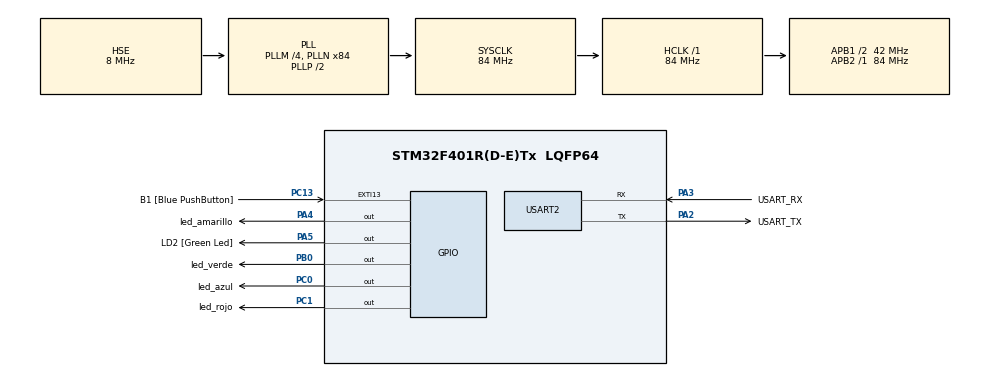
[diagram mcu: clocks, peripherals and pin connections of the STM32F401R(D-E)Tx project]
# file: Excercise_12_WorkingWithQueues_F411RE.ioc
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FREERTOS.Tasks01=defaultTask,24,128,StartDefaultTask,Default,NULL,Dynamic,NULL,NULL
Mcu.Family=STM32F4
Mcu.Name=STM32F401R(D-E)Tx
Mcu.Package=LQFP64
NVIC.PriorityGroup=NVIC_PRIORITYGROUP_4
NVIC.TIM1_UP_TIM10_IRQn=true\:15\:0\:false\:false\:true\:false\:false\:true\:true
NVIC.TimeBase=TIM1_UP_TIM10_IRQn
NVIC.TimeBaseIP=TIM1
PA13.GPIO_Label=TMS
PA13.Mode=Serial_Wire
PA13.Signal=SYS_JTMS-SWDIO
PA14.GPIO_Label=TCK
PA14.Mode=Serial_Wire
PA14.Signal=SYS_JTCK-SWCLK
PA2.GPIO_Label=USART_TX
PA2.GPIO_Mode=GPIO_MODE_AF_PP
PA2.GPIO_PuPd=GPIO_NOPULL
PA2.GPIO_Speed=GPIO_SPEED_FREQ_LOW
PA2.Mode=Asynchronous
PA2.Signal=USART2_TX
PA3.GPIO_Label=USART_RX
PA3.GPIO_Mode=GPIO_MODE_AF_PP
PA3.GPIO_PuPd=GPIO_NOPULL
PA3.GPIO_Speed=GPIO_SPEED_FREQ_LOW
PA3.Mode=Asynchronous
PA3.Signal=USART2_RX
PA4.GPIO_Label=led_amarillo
PA4.Signal=GPIO_Output
PA5.GPIO_Label=LD2 [Green Led]
PA5.GPIO_Mode=GPIO_MODE_OUTPUT_PP
PA5.GPIO_PuPd=GPIO_NOPULL
PA5.GPIO_Speed=GPIO_SPEED_FREQ_LOW
PA5.Signal=GPIO_Output
PB0.GPIO_Label=led_verde
PB0.Signal=GPIO_Output
PB3.GPIO_Label=SWO
PB3.Signal=SYS_JTDO-SWO
PC0.GPIO_Label=led_azul
PC0.Signal=GPIO_Output
PC1.GPIO_Label=led_rojo
PC1.Signal=GPIO_Output
PC13-ANTI_TAMP.GPIO_Label=B1 [Blue PushButton]
PC13-ANTI_TAMP.GPIO_ModeDefaultEXTI=GPIO_MODE_IT_FALLING
PC13-ANTI_TAMP.GPIO_PuPd=GPIO_NOPULL
PC13-ANTI_TAMP.Signal=GPXTI13
PC14-OSC32_IN.Mode=LSE-External-Oscillator
PC14-OSC32_IN.Signal=RCC_OSC32_IN
PC15-OSC32_OUT.Mode=LSE-External-Oscillator
PC15-OSC32_OUT.Signal=RCC_OSC32_OUT
PH0\ -\ OSC_IN.Mode=HSE-External-Clock-Source
PH0\ -\ OSC_IN.Signal=RCC_OSC_IN
PH1\ -\ OSC_OUT.Mode=HSE-External-Clock-Source
PH1\ -\ OSC_OUT.Signal=RCC_OSC_OUT
ProjectManager.HeapSize=0x200
ProjectManager.StackSize=0x400
ProjectManager.TargetToolchain=STM32CubeIDE
RCC.48MHZClocksFreq_Value=24000000
RCC.AHBFreq_Value=84000000
RCC.APB1CLKDivider=RCC_HCLK_DIV2
RCC.APB1Freq_Value=42000000
RCC.APB1TimFreq_Value=84000000
RCC.APB2Freq_Value=84000000
RCC.APB2TimFreq_Value=84000000
RCC.CortexFreq_Value=84000000
RCC.HCLKFreq_Value=84000000
RCC.HSE_VALUE=8000000
RCC.HSI_VALUE=16000000
RCC.PLLM=4
RCC.PLLN=84
RCC.PLLQ=7
RCC.PLLSourceVirtual=RCC_PLLSOURCE_HSE
RCC.SYSCLKFreq_VALUE=84000000
RCC.SYSCLKSource=RCC_SYSCLKSOURCE_PLLCLK
RCC.VCOOutputFreq_Value=168000000
USART2.VirtualMode=VM_ASYNC
VP_FREERTOS_VS_CMSIS_V2.Mode=CMSIS_V2
VP_SYS_VS_tim1.Mode=TIM1
board=NUCLEO-F401RE

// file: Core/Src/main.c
/* USER CODE BEGIN Header */
/**
  ******************************************************************************
  * @file           : main.c
  * @brief          : Main program body
  ******************************************************************************
  * @attention
  *
  * Copyright (c) 2024 STMicroelectronics.
  * All rights reserved.
  *
  * This software is licensed under terms that can be found in the LICENSE file
  * in the root directory of this software component.
  * If no LICENSE file comes with this software, it is provided AS-IS.
  *
  ******************************************************************************
  */
/* USER CODE END Header */
#include "main.h"
#include "cmsis_os.h"

UART_HandleTypeDef huart2;

/* Definitions for defaultTask */
osThreadId_t defaultTaskHandle;
const osThreadAttr_t defaultTask_attributes = {
  .name = "defaultTask",
  .stack_size = 128 * 4,
  .priority = (osPriority_t) osPriorityNormal,
};
/* USER CODE BEGIN PV */
typedef uint32_t TaskProfiler_t ;

TaskProfiler_t 	a=0;
TaskProfiler_t	b=0;
TaskProfiler_t	c=0;
TaskProfiler_t	idleTaskProfiler=0;

//pointers of the led
//const uint16_t * Blue_led = (uint16_t *)led_1_Pin;
//const uint16_t * Red_led = (uint16_t *)led_2_Pin;
//const uint16_t * Green_led = (uint16_t *)led_3_Pin;
//const uint16_t * Orange_led =(uint16_t *) led_4_Pin;

const TickType_t _250ms = pdMS_TO_TICKS(250);
const TickType_t _100ms = pdMS_TO_TICKS(100);
const TickType_t _1000ms = pdMS_TO_TICKS(1000);
const TickType_t _50ms = pdMS_TO_TICKS(50);

typedef enum
{
	humidity_sensor,
	pressure_sensor
}DataSource_t;

typedef struct
{
	uint8_t ucValue;
	DataSource_t sDataSource;//source of the data
}Data_t;

static const Data_t xStrcutrToSend [2]=
{
		{77,humidity_sensor},//used by humidity sensor
		{63,pressure_sensor} // used by pressure sensor
};

QueueHandle_t sensorQueue;

/* USER CODE END PV */

void SystemClock_Config(void);
static void MX_GPIO_Init(void);
static void MX_USART2_UART_Init(void);
void StartDefaultTask(void *argument);

/* USER CODE BEGIN PFP */
void SerialUartSendString(char *ptr);
void HumidityTask(void *pvParameters);
void PressureTask(void *pvParameters);
void ReceiverTask(void *pvParameters);
void LedsController1(void *pvParameters);
void LedsController2(void *pvParameters);
void LedsController3(void *pvParameters);
void LedsController4(void *pvParameters);

void SerialUartSendString(char *ptr);
TaskHandle_t hum_task_handle,press_task_handle,receiver_handle,ledsHandler;

/* USER CODE END PFP */

int main(void)
{

  /* MCU Configuration--------------------------------------------------------*/

  /* Reset of all peripherals, Initializes the Flash interface and the Systick. */
  HAL_Init();

  /* Configure the system clock */
  SystemClock_Config();

  /* Initialize all configured peripherals */
  MX_GPIO_Init();
  MX_USART2_UART_Init();

  /* Init scheduler */
  //osKernelInitialize();

  /* USER CODE BEGIN RTOS_QUEUES */
  /* add queues, ... */
  sensorQueue =xQueueCreate(3,sizeof(Data_t));
  /* USER CODE END RTOS_QUEUES */

  /* Create the thread(s) */
  /* creation of defaultTask */
  //defaultTaskHandle = osThreadNew(StartDefaultTask, NULL, &defaultTask_attributes);

  /* USER CODE BEGIN RTOS_THREADS */
  /* add threads, ... */
  xTaskCreate(ReceiverTask, "Receive task", 800, NULL, 2, NULL);
  xTaskCreate(HumidityTask, "Humidity Task", 800, (void *)&(xStrcutrToSend[0]), 2, NULL);
  xTaskCreate(PressureTask, "Pressure task", 800, (void *)&(xStrcutrToSend[1]), 2, NULL);
  xTaskCreate(LedsController1, "LedsController1", 200, NULL, 2, NULL);
  xTaskCreate(LedsController2, "LedsController2", 200, NULL, 2, NULL);
  xTaskCreate(LedsController3, "LedsController3", 200, NULL, 2, NULL);
  xTaskCreate(LedsController4, "LedsController4", 200, NULL, 2, NULL);
  /* USER CODE END RTOS_THREADS */

  /* Start scheduler */
  //osKernelStart();

  /* We should never get here as control is now taken by the scheduler */
  /* Infinite loop */
  /* USER CODE BEGIN WHILE */
  vTaskStartScheduler();//star the scheduler

  while (1)
  {
    /* USER CODE END WHILE */

  }
}

void SystemClock_Config(void)
{
  RCC_OscInitTypeDef RCC_OscInitStruct = {0};
  RCC_ClkInitTypeDef RCC_ClkInitStruct = {0};

  /** Configure the main internal regulator output voltage
  */
  __HAL_RCC_PWR_CLK_ENABLE();
  __HAL_PWR_VOLTAGESCALING_CONFIG(PWR_REGULATOR_VOLTAGE_SCALE2);

  /** Initializes the RCC Oscillators according to the specified parameters
  * in the RCC_OscInitTypeDef structure.
  */
  RCC_OscInitStruct.OscillatorType = RCC_OSCILLATORTYPE_HSE;
  RCC_OscInitStruct.HSEState = RCC_HSE_BYPASS;
  RCC_OscInitStruct.PLL.PLLState = RCC_PLL_ON;
  RCC_OscInitStruct.PLL.PLLSource = RCC_PLLSOURCE_HSE;
  RCC_OscInitStruct.PLL.PLLM = 4;
  RCC_OscInitStruct.PLL.PLLN = 84;
  RCC_OscInitStruct.PLL.PLLP = RCC_PLLP_DIV2;
  RCC_OscInitStruct.PLL.PLLQ = 7;
  if (HAL_RCC_OscConfig(&RCC_OscInitStruct) != HAL_OK)
  {
    Error_Handler();
  }

  /** Initializes the CPU, AHB and APB buses clocks
  */
  RCC_ClkInitStruct.ClockType = RCC_CLOCKTYPE_HCLK|RCC_CLOCKTYPE_SYSCLK
                              |RCC_CLOCKTYPE_PCLK1|RCC_CLOCKTYPE_PCLK2;
  RCC_ClkInitStruct.SYSCLKSource = RCC_SYSCLKSOURCE_PLLCLK;
  RCC_ClkInitStruct.AHBCLKDivider = RCC_SYSCLK_DIV1;
  RCC_ClkInitStruct.APB1CLKDivider = RCC_HCLK_DIV2;
  RCC_ClkInitStruct.APB2CLKDivider = RCC_HCLK_DIV1;

  if (HAL_RCC_ClockConfig(&RCC_ClkInitStruct, FLASH_LATENCY_2) != HAL_OK)
  {
    Error_Handler();
  }
}

static void MX_USART2_UART_Init(void)
{

  huart2.Instance = USART2;
  huart2.Init.BaudRate = 115200;
  huart2.Init.WordLength = UART_WORDLENGTH_8B;
  huart2.Init.StopBits = UART_STOPBITS_1;
  huart2.Init.Parity = UART_PARITY_NONE;
  huart2.Init.Mode = UART_MODE_TX_RX;
  huart2.Init.HwFlowCtl = UART_HWCONTROL_NONE;
  huart2.Init.OverSampling = UART_OVERSAMPLING_16;
  if (HAL_UART_Init(&huart2) != HAL_OK)
  {
    Error_Handler();
  }

}

static void MX_GPIO_Init(void)
{
  GPIO_InitTypeDef GPIO_InitStruct = {0};

  /* GPIO Ports Clock Enable */
  __HAL_RCC_GPIOC_CLK_ENABLE();
  __HAL_RCC_GPIOH_CLK_ENABLE();
  __HAL_RCC_GPIOA_CLK_ENABLE();
  __HAL_RCC_GPIOB_CLK_ENABLE();

  /*Configure GPIO pin Output Level */
  HAL_GPIO_WritePin(GPIOC, led_azul_Pin|led_rojo_Pin, GPIO_PIN_RESET);

  /*Configure GPIO pin Output Level */
  HAL_GPIO_WritePin(GPIOA, led_amarillo_Pin|LD2_Pin, GPIO_PIN_RESET);

  /*Configure GPIO pin Output Level */
  HAL_GPIO_WritePin(led_verde_GPIO_Port, led_verde_Pin, GPIO_PIN_RESET);

  /*Configure GPIO pin : B1_Pin */
  GPIO_InitStruct.Pin = B1_Pin;
  GPIO_InitStruct.Mode = GPIO_MODE_IT_FALLING;
  GPIO_InitStruct.Pull = GPIO_NOPULL;
  HAL_GPIO_Init(B1_GPIO_Port, &GPIO_InitStruct);

  /*Configure GPIO pins : led_azul_Pin led_rojo_Pin */
  GPIO_InitStruct.Pin = led_azul_Pin|led_rojo_Pin;
  GPIO_InitStruct.Mode = GPIO_MODE_OUTPUT_PP;
  GPIO_InitStruct.Pull = GPIO_NOPULL;
  GPIO_InitStruct.Speed = GPIO_SPEED_FREQ_LOW;
  HAL_GPIO_Init(GPIOC, &GPIO_InitStruct);

  /*Configure GPIO pins : led_amarillo_Pin LD2_Pin */
  GPIO_InitStruct.Pin = led_amarillo_Pin|LD2_Pin;
  GPIO_InitStruct.Mode = GPIO_MODE_OUTPUT_PP;
  GPIO_InitStruct.Pull = GPIO_NOPULL;
  GPIO_InitStruct.Speed = GPIO_SPEED_FREQ_LOW;
  HAL_GPIO_Init(GPIOA, &GPIO_InitStruct);

  /*Configure GPIO pin : led_verde_Pin */
  GPIO_InitStruct.Pin = led_verde_Pin;
  GPIO_InitStruct.Mode = GPIO_MODE_OUTPUT_PP;
  GPIO_InitStruct.Pull = GPIO_NOPULL;
  GPIO_InitStruct.Speed = GPIO_SPEED_FREQ_LOW;
  HAL_GPIO_Init(led_verde_GPIO_Port, &GPIO_InitStruct);

}

/* USER CODE BEGIN 4 */

void HumidityTask(void *pvParameters)
{
	BaseType_t qstatus;

	while(1)
	{
		qstatus=xQueueSend(sensorQueue,pvParameters,_250ms);

		if(qstatus !=pdPASS)
		{
			//do something
		}

		vTaskDelay(_100ms);
	}
}
void PressureTask(void *pvParameters)
{
	BaseType_t qstatus;

	while(1)
	{
		qstatus=xQueueSend(sensorQueue,pvParameters,_250ms);

		if(qstatus !=pdPASS)
		{
			//do something
		}

		vTaskDelay(_50ms);
	}

}
void ReceiverTask(void *pvParameters) {

	BaseType_t qStatus;
	Data_t xReceiveDataBuffer;
	char buffer[100];
	while (1) {
		qStatus = xQueueReceive(sensorQueue, &xReceiveDataBuffer, _50ms);

		if (qStatus == pdPASS) {

			if(xReceiveDataBuffer.sDataSource==humidity_sensor)
			{
				SerialUartSendString("************************************\n");
				SerialUartSendString("Humidity Sensor:\n");
				SerialUartSendString("Queue received:\n");
							SerialUartSendString("uValue:");
							sprintf(buffer, "%i", xReceiveDataBuffer.ucValue);
							SerialUartSendString(buffer);
							SerialUartSendString("\n");
							SerialUartSendString("Source of Data:");
							sprintf(buffer, "%i", xReceiveDataBuffer.sDataSource);
							SerialUartSendString(buffer);
							SerialUartSendString("\r\n");
							SerialUartSendString("************************************\n");

			}

			if(xReceiveDataBuffer.sDataSource==pressure_sensor)
			{
				SerialUartSendString("************************************\n");
				SerialUartSendString("Pressure sensor:\n");
								SerialUartSendString("Queue received:\n");
											SerialUartSendString("uValue:");
											sprintf(buffer, "%i", xReceiveDataBuffer.ucValue);
											SerialUartSendString(buffer);
											SerialUartSendString("\n");
											SerialUartSendString("Source of Data:");
											sprintf(buffer, "%i", xReceiveDataBuffer.sDataSource);
											SerialUartSendString(buffer);
											SerialUartSendString("\r\n");
											SerialUartSendString("************************************\n");

			}

		}

		else {

			SerialUartSendString("Error\r\n");

		}

	}

}

void LedsController1(void *pvParameters)
{
		while(1)
	{
			HAL_GPIO_TogglePin(led_azul_GPIO_Port,led_azul_Pin);
			vTaskDelay(_50ms);

	}

}

void LedsController2(void *pvParameters)
{
		while(1)
	{

			HAL_GPIO_TogglePin(led_rojo_GPIO_Port,led_rojo_Pin);
			vTaskDelay(_50ms);
			vTaskDelay(_50ms);

	}

}

void LedsController3(void *pvParameters)
{
		while(1)
	{

			HAL_GPIO_TogglePin(led_amarillo_GPIO_Port,led_amarillo_Pin);
			vTaskDelay(_50ms);
			vTaskDelay(_50ms);
			vTaskDelay(_50ms);

	}

}

void LedsController4(void *pvParameters)
{
		while(1)
	{

			HAL_GPIO_TogglePin(led_verde_GPIO_Port,led_verde_Pin);
			vTaskDelay(_50ms);
			vTaskDelay(_50ms);
			vTaskDelay(_50ms);
			vTaskDelay(_50ms);
			vTaskDelay(_50ms);

	}

}

//create callback from
void vApplicationIdleHook(void)
{

idleTaskProfiler++;
}

void SerialUartSendString(char *ptr)
{
uint16_t DataLen = strlen(ptr);
HAL_UART_Transmit(&huart2, (const uint8_t *)ptr, DataLen, HAL_MAX_DELAY);
}

/* USER CODE END 4 */

void StartDefaultTask(void *argument)
{
  for(;;)
  {
    osDelay(1);
  }
}

void HAL_TIM_PeriodElapsedCallback(TIM_HandleTypeDef *htim)
{
  if (htim->Instance == TIM1) {
    HAL_IncTick();
  }
}

void Error_Handler(void)
{
  __disable_irq();
  while (1)
  {
  }
}
